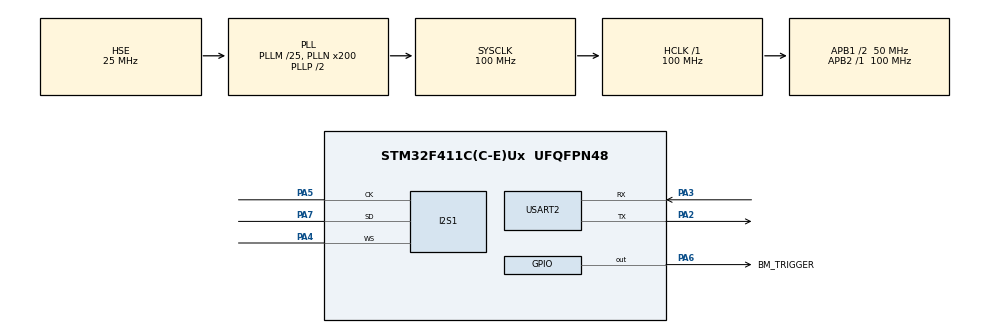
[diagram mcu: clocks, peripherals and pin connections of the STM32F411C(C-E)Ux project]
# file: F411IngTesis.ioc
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I2S1.AudioFreq=I2S_AUDIOFREQ_192K
I2S1.DataFormat=I2S_DATAFORMAT_16B_EXTENDED
I2S1.ErrorAudioFreq=1.72 %
I2S1.FullDuplexMode=I2S_FULLDUPLEXMODE_DISABLE
I2S1.Instance=SPI$Index
I2S1.RealAudioFreq=195.312 KHz
I2S1.VirtualMode=I2S_MODE_MASTER
Mcu.Family=STM32F4
Mcu.Name=STM32F411C(C-E)Ux
Mcu.Package=UFQFPN48
NVIC.PriorityGroup=NVIC_PRIORITYGROUP_4
PA13.Mode=Serial_Wire
PA13.Signal=SYS_JTMS-SWDIO
PA14.Mode=Serial_Wire
PA14.Signal=SYS_JTCK-SWCLK
PA2.Mode=Asynchronous
PA2.Signal=USART2_TX
PA3.Mode=Asynchronous
PA3.Signal=USART2_RX
PA4.Mode=Half_Duplex_Master
PA4.Signal=I2S1_WS
PA5.Mode=Half_Duplex_Master
PA5.Signal=I2S1_CK
PA6.GPIO_Label=BM_TRIGGER
PA6.GPIO_Speed=GPIO_SPEED_FREQ_VERY_HIGH
PA6.Signal=GPIO_Output
PA7.Mode=Half_Duplex_Master
PA7.Signal=I2S1_SD
PC14-OSC32_IN.Mode=LSE-External-Oscillator
PC14-OSC32_IN.Signal=RCC_OSC32_IN
PC15-OSC32_OUT.Mode=LSE-External-Oscillator
PC15-OSC32_OUT.Signal=RCC_OSC32_OUT
PH0\ -\ OSC_IN.Mode=HSE-External-Oscillator
PH0\ -\ OSC_IN.Signal=RCC_OSC_IN
PH1\ -\ OSC_OUT.Mode=HSE-External-Oscillator
PH1\ -\ OSC_OUT.Signal=RCC_OSC_OUT
ProjectManager.HeapSize=0x200
ProjectManager.StackSize=0x400
ProjectManager.TargetToolchain=STM32CubeIDE
RCC.48MHZClocksFreq_Value=50000000
RCC.AHBFreq_Value=100000000
RCC.APB1CLKDivider=RCC_HCLK_DIV2
RCC.APB1Freq_Value=50000000
RCC.APB1TimFreq_Value=100000000
RCC.APB2Freq_Value=100000000
RCC.APB2TimFreq_Value=100000000
RCC.CortexFreq_Value=100000000
RCC.HCLKFreq_Value=100000000
RCC.HSE_VALUE=25000000
RCC.HSI_VALUE=16000000
RCC.PLLM=25
RCC.PLLN=200
RCC.PLLSourceVirtual=RCC_PLLSOURCE_HSE
RCC.SYSCLKFreq_VALUE=100000000
RCC.SYSCLKSource=RCC_SYSCLKSOURCE_PLLCLK
RCC.VCOOutputFreq_Value=200000000
USART2.VirtualMode=VM_ASYNC
board=custom

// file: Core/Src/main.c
/* USER CODE BEGIN Header */
/**
  ******************************************************************************
  * @file           : main.c
  * @brief          : Main program body
  ******************************************************************************
  * @attention
  *
  * Copyright (c) 2026 STMicroelectronics.
  * All rights reserved.
  *
  * This software is licensed under terms that can be found in the LICENSE file
  * in the root directory of this software component.
  * If no LICENSE file comes with this software, it is provided AS-IS.
  *
  ******************************************************************************
  */
/* USER CODE END Header */
#include "main.h"

/* USER CODE BEGIN Includes */
#include <math.h>
#include "arm_math.h"
#include "benchmark_config.h"
#include "bm_synthesis.h"
#include "bm_fft.h"
#include "bm_filters.h"
#include "bm_analysis.h"

/* USER CODE END Includes */

/* USER CODE BEGIN PM */
volatile uint32_t g_clk = 0;
volatile uint32_t g_debug_sysclk = 0;

void Debug_ClockCheck() {
    g_clk = HAL_RCC_GetSysClockFreq();
    g_debug_sysclk = SystemCoreClock;
}
/* USER CODE END PM */

I2S_HandleTypeDef hi2s1;

UART_HandleTypeDef huart2;

/* USER CODE BEGIN PV */
volatile float32_t g_dsp_test_result;

volatile uint32_t g_cyccnt_before;
volatile uint32_t g_cyccnt_after;
volatile uint32_t g_cyccnt_delta;
volatile BM_Result_t g_bm01_result;
volatile BM_Result_t g_bm02_result;
volatile BM_Result_t g_bm03_result;
volatile BM_Result_t g_bm04_result;
volatile BM_Result_t g_bm05a_result;
volatile BM_Result_t g_bm05b_result;
volatile BM_Result_t g_bm06a_result;
volatile BM_Result_t g_bm06b_result;
volatile BM_Result_t g_bm07a_result;
volatile BM_Result_t g_bm07b_result;
volatile BM_Result_t g_bm08a_result;
volatile BM_Result_t g_bm08b_result;
volatile BM_Result_t g_bm09a_result;
volatile BM_Result_t g_bm09b_result;
volatile BM_Result_t g_bm10_result;

/* USER CODE END PV */

void SystemClock_Config(void);
static void MX_GPIO_Init(void);
static void MX_I2S1_Init(void);
static void MX_USART2_UART_Init(void);

/* USER CODE BEGIN 0 */
/******** USART CODE  ********/
//#include <stdio.h>
//#include <string.h>

/* Retarget printf → USART2 via HAL */
//int __io_putchar(int ch) {
//    HAL_UART_Transmit(&huart2, (uint8_t *)&ch, 1, HAL_MAX_DELAY);
//    return ch;
//}
/* USER CODE END 0 */

int main(void)
{

  /* MCU Configuration--------------------------------------------------------*/

  /* Reset of all peripherals, Initializes the Flash interface and the Systick. */
  HAL_Init();

  /* Configure the system clock */
  SystemClock_Config();

  /* USER CODE BEGIN SysInit */
  volatile uint32_t clk = HAL_RCC_GetSysClockFreq();
  // ponle un breakpoint aquí y mira clk en Variables/Expressions
  /* USER CODE END SysInit */

  /* Initialize all configured peripherals */
  MX_GPIO_Init();
  MX_I2S1_Init();
  MX_USART2_UART_Init();
  /* USER CODE BEGIN 2 */
  /******** USART CODE  ********/
  //printf("Hello World\r\n");
  //printf("SystemCoreClock = %lu Hz\r\n", SystemCoreClock);

  volatile uint32_t debug_sysclk = 0;
  g_dsp_test_result = arm_sin_f32(1.5707963f);  // π/2 ≈ 1.5708 rad → sin(π/2) = 1.0

  BM_DWT_Init();

  g_bm01_result = BM01_Sawtooth_Run();
  g_bm02_result = BM02_Square_Run();
  g_bm03_result = BM03_Triangle_Run();
  g_bm04_result = BM04_Sine_Run();
  g_bm05a_result = BM05a_FFT64_F32_Run();
  g_bm05b_result = BM05b_FFT64_Q15_Run();

  g_bm06a_result = BM06a_FFT128_F32_Run();
  g_bm06b_result = BM06b_FFT128_Q15_Run();
  g_bm07a_result = BM07a_FFT256_F32_Run();
  g_bm07b_result = BM07b_FFT256_Q15_Run();
  g_bm08a_result = BM08a_FIR_F32_Run();
  g_bm08b_result = BM08b_FIR_Q15_Run();
  g_bm09a_result = BM09a_IIR_F32_Run();
  g_bm09b_result = BM09b_IIR_Q15_Run();
  g_bm10_result = BM10_RMS_Run();
  __asm volatile("nop"); // breakpoint aquí

  g_cyccnt_before = DWT->CYCCNT;

  BM_TRIGGER_HIGH();
  for (volatile int i = 0; i < 100000; i++) { } // carga de trabajo dummy, ~pulso visible en scope
  BM_TRIGGER_LOW();

  g_cyccnt_after = DWT->CYCCNT;
  g_cyccnt_delta = g_cyccnt_after - g_cyccnt_before;

  __asm volatile("nop"); // breakpoint aquí

  /* USER CODE END 2 */

  /* Infinite loop */
  while (1)
  {

    /* USER CODE BEGIN 3 */
	debug_sysclk = SystemCoreClock;
	HAL_Delay(500);   /* pausa para que puedas ver el valor actualizarse si pones breakpoint */

	debug_sysclk = SystemCoreClock;
  }
  /* USER CODE END 3 */
}

void SystemClock_Config(void)
{
  RCC_OscInitTypeDef RCC_OscInitStruct = {0};
  RCC_ClkInitTypeDef RCC_ClkInitStruct = {0};

  /** Configure the main internal regulator output voltage
  */
  __HAL_RCC_PWR_CLK_ENABLE();
  __HAL_PWR_VOLTAGESCALING_CONFIG(PWR_REGULATOR_VOLTAGE_SCALE1);

  /** Initializes the RCC Oscillators according to the specified parameters
  * in the RCC_OscInitTypeDef structure.
  */
  RCC_OscInitStruct.OscillatorType = RCC_OSCILLATORTYPE_HSE;
  RCC_OscInitStruct.HSEState = RCC_HSE_ON;
  RCC_OscInitStruct.PLL.PLLState = RCC_PLL_ON;
  RCC_OscInitStruct.PLL.PLLSource = RCC_PLLSOURCE_HSE;
  RCC_OscInitStruct.PLL.PLLM = 25;
  RCC_OscInitStruct.PLL.PLLN = 200;
  RCC_OscInitStruct.PLL.PLLP = RCC_PLLP_DIV2;
  RCC_OscInitStruct.PLL.PLLQ = 4;
  if (HAL_RCC_OscConfig(&RCC_OscInitStruct) != HAL_OK)
  {
    Error_Handler();
  }

  /** Initializes the CPU, AHB and APB buses clocks
  */
  RCC_ClkInitStruct.ClockType = RCC_CLOCKTYPE_HCLK|RCC_CLOCKTYPE_SYSCLK
                              |RCC_CLOCKTYPE_PCLK1|RCC_CLOCKTYPE_PCLK2;
  RCC_ClkInitStruct.SYSCLKSource = RCC_SYSCLKSOURCE_PLLCLK;
  RCC_ClkInitStruct.AHBCLKDivider = RCC_SYSCLK_DIV1;
  RCC_ClkInitStruct.APB1CLKDivider = RCC_HCLK_DIV2;
  RCC_ClkInitStruct.APB2CLKDivider = RCC_HCLK_DIV1;

  if (HAL_RCC_ClockConfig(&RCC_ClkInitStruct, FLASH_LATENCY_3) != HAL_OK)
  {
    Error_Handler();
  }
}

static void MX_I2S1_Init(void)
{

  hi2s1.Instance = SPI1;
  hi2s1.Init.Mode = I2S_MODE_MASTER_TX;
  hi2s1.Init.Standard = I2S_STANDARD_PHILIPS;
  hi2s1.Init.DataFormat = I2S_DATAFORMAT_16B_EXTENDED;
  hi2s1.Init.MCLKOutput = I2S_MCLKOUTPUT_DISABLE;
  hi2s1.Init.AudioFreq = I2S_AUDIOFREQ_192K;
  hi2s1.Init.CPOL = I2S_CPOL_LOW;
  hi2s1.Init.ClockSource = I2S_CLOCK_PLL;
  hi2s1.Init.FullDuplexMode = I2S_FULLDUPLEXMODE_DISABLE;
  if (HAL_I2S_Init(&hi2s1) != HAL_OK)
  {
    Error_Handler();
  }

}

static void MX_USART2_UART_Init(void)
{

  huart2.Instance = USART2;
  huart2.Init.BaudRate = 115200;
  huart2.Init.WordLength = UART_WORDLENGTH_8B;
  huart2.Init.StopBits = UART_STOPBITS_1;
  huart2.Init.Parity = UART_PARITY_NONE;
  huart2.Init.Mode = UART_MODE_TX_RX;
  huart2.Init.HwFlowCtl = UART_HWCONTROL_NONE;
  huart2.Init.OverSampling = UART_OVERSAMPLING_16;
  if (HAL_UART_Init(&huart2) != HAL_OK)
  {
    Error_Handler();
  }

}

static void MX_GPIO_Init(void)
{
  GPIO_InitTypeDef GPIO_InitStruct = {0};

  /* GPIO Ports Clock Enable */
  __HAL_RCC_GPIOC_CLK_ENABLE();
  __HAL_RCC_GPIOH_CLK_ENABLE();
  __HAL_RCC_GPIOA_CLK_ENABLE();

  /*Configure GPIO pin Output Level */
  HAL_GPIO_WritePin(BM_TRIGGER_GPIO_Port, BM_TRIGGER_Pin, GPIO_PIN_RESET);

  /*Configure GPIO pin : BM_TRIGGER_Pin */
  GPIO_InitStruct.Pin = BM_TRIGGER_Pin;
  GPIO_InitStruct.Mode = GPIO_MODE_OUTPUT_PP;
  GPIO_InitStruct.Pull = GPIO_NOPULL;
  GPIO_InitStruct.Speed = GPIO_SPEED_FREQ_VERY_HIGH;
  HAL_GPIO_Init(BM_TRIGGER_GPIO_Port, &GPIO_InitStruct);

}

void Error_Handler(void)
{
  __disable_irq();
  while (1)
  {
  }
}
